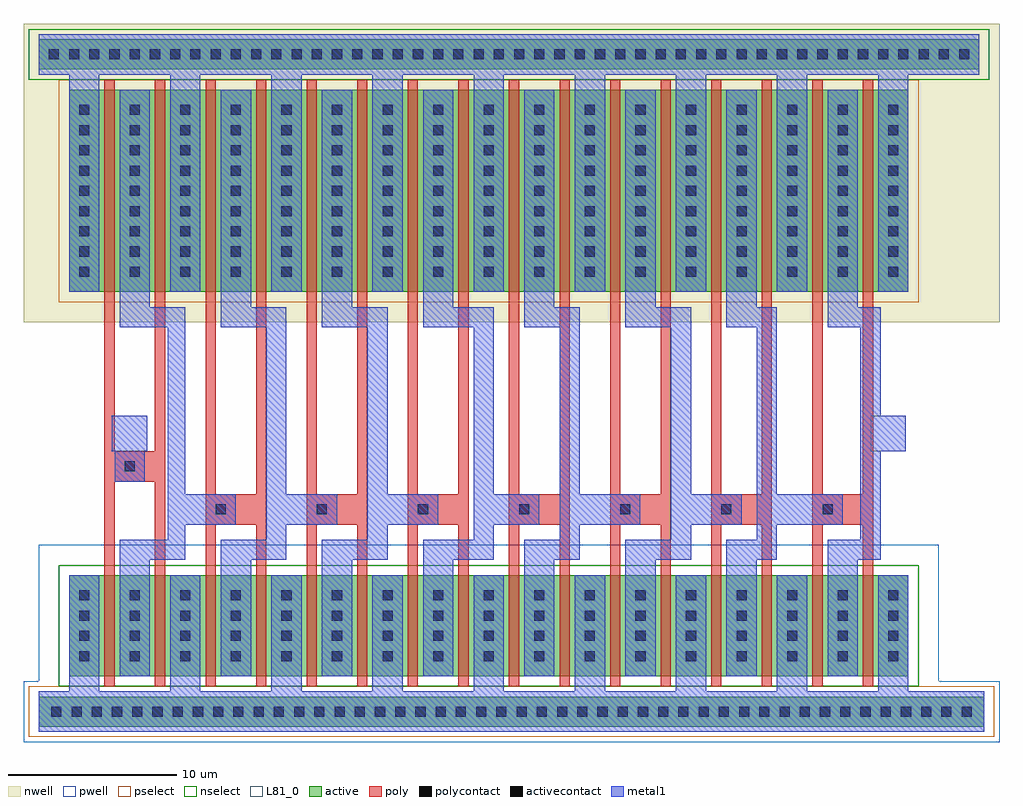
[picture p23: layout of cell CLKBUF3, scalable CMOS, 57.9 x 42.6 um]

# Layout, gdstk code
import gdstk
lib = gdstk.Library(unit=1e-6, precision=1e-09)
def R(c, l, rs):  # rectangles x0, y0, x1, y1
    for r in rs: c.add(gdstk.rectangle(r[:2], r[2:], *l))
def A(c, l, x, y, w, h, nx, ny, dx, dy):  # array of equal rectangles
    R(c, l, [(x+i*dx, y+j*dy, x+i*dx+w, y+j*dy+h) for i in range(nx) for j in range(ny)])
pwell = (41, 0)
nwell = (42, 0)
active = (43, 0)
pselect = (44, 0)
nselect = (45, 0)
poly = (46, 0)
polycontact = (47, 0)
activecontact = (48, 0)
metal1 = (49, 0)
L81_0 = (81, 0)

clkbuf3 = lib.new_cell('CLKBUF3')
R(clkbuf3, pwell, [(-1.8,-1.8,56.1,1.8), (-0.9,1.8,52.5,9.9)])
R(clkbuf3, nwell, [(-1.8,23.1,56.1,40.8)])
R(clkbuf3, active, [(-0.9,-0.9,55.2,0.9), (0.9,2.1,50.7,8.1), (0.9,24.9,50.7,36.9), (-0.9,38.1,54.9,39.9)])
R(clkbuf3, pselect, [(-1.5,-1.5,55.8,1.5), (0.3,24.3,51.3,37.5)])
R(clkbuf3, nselect, [(0.3,1.5,51.3,8.7), (-1.5,37.5,55.5,40.5)])
A(clkbuf3, poly, 9, 1.5, 0.6, 9.6, 14, 1, 3, 0)
A(clkbuf3, poly, 9, 11.1, 3.6, 1.8, 7, 1, 6, 0)
A(clkbuf3, poly, 9, 12.9, 0.6, 24.6, 14, 1, 3, 0)
R(clkbuf3, poly, [(3,1.5,3.6,13.65), (6,1.5,6.6,13.65), (3,13.65,6.6,15.45), (3,15.45,3.6,37.5), (6,15.45,6.6,37.5)])
A(clkbuf3, polycontact, 9.6, 11.7, 0.6, 0.6, 7, 1, 6, 0)
R(clkbuf3, polycontact, [(4.2,14.25,4.8,14.85)])
A(clkbuf3, activecontact, -0.15, -0.3, 0.6, 0.6, 46, 1, 1.2, 0)
A(clkbuf3, activecontact, 1.5, 3, 0.6, 0.6, 17, 4, 3, 1.2)
A(clkbuf3, activecontact, 1.5, 25.8, 0.6, 0.6, 17, 9, 3, 1.2)
A(clkbuf3, activecontact, -0.3, 38.7, 0.6, 0.6, 46, 1, 1.2, 0)
A(clkbuf3, metal1, 0.9, 1.2, 1.8, 6.9, 9, 1, 6, 0)
A(clkbuf3, metal1, 3.9, 2.1, 1.8, 6.9, 8, 1, 6, 0)
A(clkbuf3, metal1, 3.9, 9, 3.9, 1.2, 3, 2, 6, 13.8)
A(clkbuf3, metal1, 3.9, 24, 1.8, 12.9, 8, 1, 6, 0)
A(clkbuf3, metal1, 0.9, 24.9, 1.8, 12.9, 9, 1, 6, 0)
R(clkbuf3, metal1, [(-0.9,-1.2,55.2,1.2), (21.9,9,26.1,10.2), (27.9,9,31.2,10.2), (33.9,9,37.8,10.2), (39.9,9,42.9,10.2), (45.9,9,49.05,10.2), (6.75,10.2,7.8,11.1), (12.6,10.2,13.8,11.1), (18.6,10.2,19.8,11.1), (24.9,10.2,26.1,11.1), (30,10.2,31.2,11.1), (36.6,10.2,37.8,11.1), (41.7,10.2,42.9,11.1), (47.85,10.2,49.05,15.45), (6.75,11.1,10.8,12.9), (12.6,11.1,16.8,12.9), (18.6,11.1,22.8,12.9), (24.9,11.1,28.8,12.9), (30,11.1,34.8,12.9), (36.6,11.1,40.8,12.9), (41.7,11.1,46.8,12.9), (6.75,12.9,7.8,22.8), (12.6,12.9,13.8,22.8), (18.6,12.9,19.8,22.8), (24.9,12.9,26.1,22.8), (30,12.9,31.2,22.8), (36.6,12.9,37.8,22.8), (41.7,12.9,42.9,22.8), (3.6,13.65,5.4,15.45), (3.45,15.45,5.55,17.55), (47.85,15.45,50.55,17.55), (47.85,17.55,49.05,22.8), (21.9,22.8,26.1,24), (27.9,22.8,31.2,24), (33.9,22.8,37.8,24), (39.9,22.8,42.9,24), (45.9,22.8,49.05,24), (-0.9,37.8,54.9,40.2)])
R(clkbuf3, L81_0, [(3.45,15.45,5.55,17.55), (48.45,15.45,50.55,17.55)])

lib.write_gds('CLKBUF3.gds')
